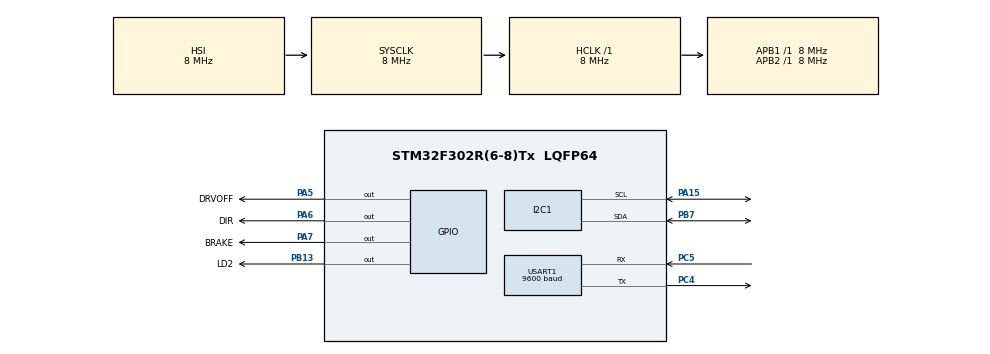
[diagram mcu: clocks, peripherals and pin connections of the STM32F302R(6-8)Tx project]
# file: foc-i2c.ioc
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Mcu.Family=STM32F3
Mcu.Name=STM32F302R(6-8)Tx
Mcu.Package=LQFP64
NVIC.PriorityGroup=NVIC_PRIORITYGROUP_4
NVIC.TIM2_IRQn=true\:0\:0\:false\:false\:true\:true\:true\:true
NVIC.USART1_IRQn=true\:0\:0\:false\:false\:true\:true\:true\:true
PA13.Mode=Serial_Wire
PA13.Signal=SYS_JTMS-SWDIO
PA14.Mode=Serial_Wire
PA14.Signal=SYS_JTCK-SWCLK
PA15.GPIO_Pu=GPIO_PULLUP
PA15.Mode=I2C
PA15.Signal=I2C1_SCL
PA5.GPIO_Label=DRVOFF
PA5.Signal=GPIO_Output
PA6.GPIO_Label=DIR
PA6.Signal=GPIO_Output
PA7.GPIO_Label=BRAKE
PA7.Signal=GPIO_Output
PB13.GPIO_Label=LD2
PB13.GPIO_Speed=GPIO_SPEED_FREQ_HIGH
PB13.Signal=GPIO_Output
PB7.GPIO_FM7=SYSCFG_CFGR1_I2C_PB7_FMP
PB7.GPIO_Pu=GPIO_PULLUP
PB7.Mode=I2C
PB7.Signal=I2C1_SDA
PC4.Mode=Asynchronous
PC4.Signal=USART1_TX
PC5.Mode=Asynchronous
PC5.Signal=USART1_RX
ProjectManager.HeapSize=0x200
ProjectManager.StackSize=0x400
ProjectManager.TargetToolchain=STM32CubeIDE
RCC.AHBFreq_Value=8000000
RCC.APB1Freq_Value=8000000
RCC.APB2Freq_Value=8000000
RCC.CortexFreq_Value=8000000
RCC.HSE_VALUE=8000000
RCC.HSI_VALUE=8000000
RCC.LSE_VALUE=32768
RCC.SYSCLKFreq_VALUE=8000000
TIM2.AutoReloadPreload=TIM_AUTORELOAD_PRELOAD_ENABLE
TIM2.ClockDivision=TIM_CLOCKDIVISION_DIV4
TIM2.Period=32000
TIM2.Prescaler=1024
TIM6.AutoReloadPreload=TIM_AUTORELOAD_PRELOAD_DISABLE
TIM6.Period=624
TIM6.TIM_MasterOutputTrigger=TIM_TRGO_UPDATE
USART1.BaudRate=9600
USART1.VirtualMode-Asynchronous=VM_ASYNC
VP_TIM15_VS_ClockSourceINT.Mode=Internal
VP_TIM2_VS_ClockSourceINT.Mode=Internal
VP_TIM6_VS_ClockSourceINT.Mode=Enable_Timer
board=custom

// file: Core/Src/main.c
/* USER CODE BEGIN Header */
/**
  ******************************************************************************
  * @file           : main.c
  * @brief          : Main program body
  ******************************************************************************
  * @attention
  *
  * Copyright (c) 2024 STMicroelectronics.
  * All rights reserved.
  *
  * This software is licensed under terms that can be found in the LICENSE file
  * in the root directory of this software component.
  * If no LICENSE file comes with this software, it is provided AS-IS.
  *
  ******************************************************************************
  */
/**
 * Initial Version 04JUN24 /Dkv
 * This is the main entry point for a command-line interface for configuring a
 * field oriented control BLDC driver MCF8316A from Texas Instruments.
 *
 *
 *
 */
/* USER CODE END Header */
#include "main.h"

/* USER CODE BEGIN Includes */
#include <stdio.h>
#include <string.h>
#include "appver.h"
#include "cmd.h"
/* USER CODE END Includes */

I2C_HandleTypeDef hi2c1;

TIM_HandleTypeDef htim2;
TIM_HandleTypeDef htim6;
TIM_HandleTypeDef htim15;

UART_HandleTypeDef huart1;

void SystemClock_Config(void);
static void MX_GPIO_Init(void);
static void MX_USART1_UART_Init(void);
static void MX_TIM2_Init(void);
static void MX_TIM6_Init(void);
static void MX_TIM15_Init(void);
static void MX_I2C1_Init(void);
/* USER CODE BEGIN PFP */
int _write(int fd, char *ptr, int len) {
   //HAL_UART_Transmit(&huart1, (uint8_t *) ptr, len, HAL_MAX_DELAY);
   HAL_UART_Transmit(&huart1, (uint8_t*) ptr, len, 1000);
   return len;
}
/* USER CODE END PFP */

/* USER CODE BEGIN 0 */
uint8_t UART1_rxBuffer = 0;
uint8_t cmdComplete;
char termInputBuffer[80];
int bytesReceived = 0;

void HAL_UART_RxCpltCallback(UART_HandleTypeDef *huart) {
   if (UART1_rxBuffer == 13) {
      if (bytesReceived > 0) {
         //HAL_GPIO_WritePin(LD2_GPIO_Port, LD2_Pin, GPIO_PIN_SET);

         executeCmd(&termInputBuffer[0], bytesReceived);
         bytesReceived = 0;
         memset(termInputBuffer, 0, 80);
         //HAL_GPIO_WritePin(LD2_GPIO_Port, LD2_Pin, GPIO_PIN_RESET);
      } else {
         promt();
      }
      HAL_UART_Receive_IT(&huart1, &UART1_rxBuffer, 1);
      return;
   }
   HAL_UART_Transmit(&huart1, &UART1_rxBuffer, 1, 100);
   termInputBuffer[bytesReceived] = UART1_rxBuffer;
   bytesReceived++;
   // re-trigger the interrupt...
   HAL_UART_Receive_IT(&huart1, &UART1_rxBuffer, 1);
}
/* USER CODE END 0 */

int main(void)
{
  /* USER CODE BEGIN 1 */
   setvbuf(stdout, NULL, _IONBF, 0);

  /* USER CODE END 1 */

  /* MCU Configuration--------------------------------------------------------*/

  /* Reset of all peripherals, Initializes the Flash interface and the Systick. */
  HAL_Init();

  /* Configure the system clock */
  SystemClock_Config();

  /* Initialize all configured peripherals */
  MX_GPIO_Init();
  MX_USART1_UART_Init();
  MX_TIM2_Init();
  MX_TIM6_Init();
  MX_TIM15_Init();
  MX_I2C1_Init();
  /* USER CODE BEGIN 2 */
  HAL_UART_Receive_IT(&huart1, &UART1_rxBuffer, 1);

  printf("\r\n\r\nFOC config support on STM32-NUCLEO-F302R8 development board");
  printf("\r\nVer. %d.%d - Build No. %d", MAJOR_VERSION, MINOR_VERSION, BUILD);
  promt();
  /* USER CODE END 2 */

  /* Infinite loop */
  while (1)
  {

  }
}

void SystemClock_Config(void)
{
  RCC_OscInitTypeDef RCC_OscInitStruct = {0};
  RCC_ClkInitTypeDef RCC_ClkInitStruct = {0};
  RCC_PeriphCLKInitTypeDef PeriphClkInit = {0};

  /** Initializes the RCC Oscillators according to the specified parameters
  * in the RCC_OscInitTypeDef structure.
  */
  RCC_OscInitStruct.OscillatorType = RCC_OSCILLATORTYPE_HSI;
  RCC_OscInitStruct.HSIState = RCC_HSI_ON;
  RCC_OscInitStruct.HSICalibrationValue = RCC_HSICALIBRATION_DEFAULT;
  RCC_OscInitStruct.PLL.PLLState = RCC_PLL_NONE;
  if (HAL_RCC_OscConfig(&RCC_OscInitStruct) != HAL_OK)
  {
    Error_Handler();
  }

  /** Initializes the CPU, AHB and APB buses clocks
  */
  RCC_ClkInitStruct.ClockType = RCC_CLOCKTYPE_HCLK|RCC_CLOCKTYPE_SYSCLK
                              |RCC_CLOCKTYPE_PCLK1|RCC_CLOCKTYPE_PCLK2;
  RCC_ClkInitStruct.SYSCLKSource = RCC_SYSCLKSOURCE_HSI;
  RCC_ClkInitStruct.AHBCLKDivider = RCC_SYSCLK_DIV1;
  RCC_ClkInitStruct.APB1CLKDivider = RCC_HCLK_DIV1;
  RCC_ClkInitStruct.APB2CLKDivider = RCC_HCLK_DIV1;

  if (HAL_RCC_ClockConfig(&RCC_ClkInitStruct, FLASH_LATENCY_0) != HAL_OK)
  {
    Error_Handler();
  }
  PeriphClkInit.PeriphClockSelection = RCC_PERIPHCLK_USART1|RCC_PERIPHCLK_I2C1
                              |RCC_PERIPHCLK_TIM15;
  PeriphClkInit.Usart1ClockSelection = RCC_USART1CLKSOURCE_PCLK1;
  PeriphClkInit.I2c1ClockSelection = RCC_I2C1CLKSOURCE_HSI;
  PeriphClkInit.Tim15ClockSelection = RCC_TIM15CLK_HCLK;
  if (HAL_RCCEx_PeriphCLKConfig(&PeriphClkInit) != HAL_OK)
  {
    Error_Handler();
  }
}

static void MX_I2C1_Init(void)
{

  hi2c1.Instance = I2C1;
  hi2c1.Init.Timing = 0x2000090E;
  hi2c1.Init.OwnAddress1 = 0;
  hi2c1.Init.AddressingMode = I2C_ADDRESSINGMODE_7BIT;
  hi2c1.Init.DualAddressMode = I2C_DUALADDRESS_DISABLE;
  hi2c1.Init.OwnAddress2 = 0;
  hi2c1.Init.OwnAddress2Masks = I2C_OA2_NOMASK;
  hi2c1.Init.GeneralCallMode = I2C_GENERALCALL_DISABLE;
  hi2c1.Init.NoStretchMode = I2C_NOSTRETCH_DISABLE;
  if (HAL_I2C_Init(&hi2c1) != HAL_OK)
  {
    Error_Handler();
  }

  /** Configure Analogue filter
  */
  if (HAL_I2CEx_ConfigAnalogFilter(&hi2c1, I2C_ANALOGFILTER_ENABLE) != HAL_OK)
  {
    Error_Handler();
  }

  /** Configure Digital filter
  */
  if (HAL_I2CEx_ConfigDigitalFilter(&hi2c1, 0) != HAL_OK)
  {
    Error_Handler();
  }

}

static void MX_TIM2_Init(void)
{

  TIM_ClockConfigTypeDef sClockSourceConfig = {0};
  TIM_MasterConfigTypeDef sMasterConfig = {0};

  htim2.Instance = TIM2;
  htim2.Init.Prescaler = 1024;
  htim2.Init.CounterMode = TIM_COUNTERMODE_UP;
  htim2.Init.Period = 32000;
  htim2.Init.ClockDivision = TIM_CLOCKDIVISION_DIV4;
  htim2.Init.AutoReloadPreload = TIM_AUTORELOAD_PRELOAD_ENABLE;
  if (HAL_TIM_Base_Init(&htim2) != HAL_OK)
  {
    Error_Handler();
  }
  sClockSourceConfig.ClockSource = TIM_CLOCKSOURCE_INTERNAL;
  if (HAL_TIM_ConfigClockSource(&htim2, &sClockSourceConfig) != HAL_OK)
  {
    Error_Handler();
  }
  sMasterConfig.MasterOutputTrigger = TIM_TRGO_RESET;
  sMasterConfig.MasterSlaveMode = TIM_MASTERSLAVEMODE_DISABLE;
  if (HAL_TIMEx_MasterConfigSynchronization(&htim2, &sMasterConfig) != HAL_OK)
  {
    Error_Handler();
  }

}

static void MX_TIM6_Init(void)
{

  TIM_MasterConfigTypeDef sMasterConfig = {0};

  htim6.Instance = TIM6;
  htim6.Init.Prescaler = 0;
  htim6.Init.CounterMode = TIM_COUNTERMODE_UP;
  htim6.Init.Period = 624;
  htim6.Init.AutoReloadPreload = TIM_AUTORELOAD_PRELOAD_DISABLE;
  if (HAL_TIM_Base_Init(&htim6) != HAL_OK)
  {
    Error_Handler();
  }
  sMasterConfig.MasterOutputTrigger = TIM_TRGO_UPDATE;
  sMasterConfig.MasterSlaveMode = TIM_MASTERSLAVEMODE_DISABLE;
  if (HAL_TIMEx_MasterConfigSynchronization(&htim6, &sMasterConfig) != HAL_OK)
  {
    Error_Handler();
  }

}

static void MX_TIM15_Init(void)
{

  TIM_ClockConfigTypeDef sClockSourceConfig = {0};
  TIM_MasterConfigTypeDef sMasterConfig = {0};

  htim15.Instance = TIM15;
  htim15.Init.Prescaler = 0;
  htim15.Init.CounterMode = TIM_COUNTERMODE_UP;
  htim15.Init.Period = 65535;
  htim15.Init.ClockDivision = TIM_CLOCKDIVISION_DIV1;
  htim15.Init.RepetitionCounter = 0;
  htim15.Init.AutoReloadPreload = TIM_AUTORELOAD_PRELOAD_DISABLE;
  if (HAL_TIM_Base_Init(&htim15) != HAL_OK)
  {
    Error_Handler();
  }
  sClockSourceConfig.ClockSource = TIM_CLOCKSOURCE_INTERNAL;
  if (HAL_TIM_ConfigClockSource(&htim15, &sClockSourceConfig) != HAL_OK)
  {
    Error_Handler();
  }
  sMasterConfig.MasterOutputTrigger = TIM_TRGO_RESET;
  sMasterConfig.MasterSlaveMode = TIM_MASTERSLAVEMODE_DISABLE;
  if (HAL_TIMEx_MasterConfigSynchronization(&htim15, &sMasterConfig) != HAL_OK)
  {
    Error_Handler();
  }

}

static void MX_USART1_UART_Init(void)
{

  huart1.Instance = USART1;
  huart1.Init.BaudRate = 9600;
  huart1.Init.WordLength = UART_WORDLENGTH_8B;
  huart1.Init.StopBits = UART_STOPBITS_1;
  huart1.Init.Parity = UART_PARITY_NONE;
  huart1.Init.Mode = UART_MODE_TX_RX;
  huart1.Init.HwFlowCtl = UART_HWCONTROL_NONE;
  huart1.Init.OverSampling = UART_OVERSAMPLING_16;
  huart1.Init.OneBitSampling = UART_ONE_BIT_SAMPLE_DISABLE;
  huart1.AdvancedInit.AdvFeatureInit = UART_ADVFEATURE_NO_INIT;
  if (HAL_UART_Init(&huart1) != HAL_OK)
  {
    Error_Handler();
  }

}

static void MX_GPIO_Init(void)
{
  GPIO_InitTypeDef GPIO_InitStruct = {0};

  /* GPIO Ports Clock Enable */
  __HAL_RCC_GPIOA_CLK_ENABLE();
  __HAL_RCC_GPIOC_CLK_ENABLE();
  __HAL_RCC_GPIOB_CLK_ENABLE();

  /*Configure GPIO pin Output Level */
  HAL_GPIO_WritePin(GPIOA, DRVOFF_Pin|DIR_Pin|BRAKE_Pin, GPIO_PIN_RESET);

  /*Configure GPIO pin Output Level */
  HAL_GPIO_WritePin(LD2_GPIO_Port, LD2_Pin, GPIO_PIN_RESET);

  /*Configure GPIO pins : DRVOFF_Pin DIR_Pin BRAKE_Pin */
  GPIO_InitStruct.Pin = DRVOFF_Pin|DIR_Pin|BRAKE_Pin;
  GPIO_InitStruct.Mode = GPIO_MODE_OUTPUT_PP;
  GPIO_InitStruct.Pull = GPIO_NOPULL;
  GPIO_InitStruct.Speed = GPIO_SPEED_FREQ_LOW;
  HAL_GPIO_Init(GPIOA, &GPIO_InitStruct);

  /*Configure GPIO pin : LD2_Pin */
  GPIO_InitStruct.Pin = LD2_Pin;
  GPIO_InitStruct.Mode = GPIO_MODE_OUTPUT_PP;
  GPIO_InitStruct.Pull = GPIO_NOPULL;
  GPIO_InitStruct.Speed = GPIO_SPEED_FREQ_HIGH;
  HAL_GPIO_Init(LD2_GPIO_Port, &GPIO_InitStruct);

}

void Error_Handler(void)
{
  __disable_irq();
  while (1)
  {
  }
}
